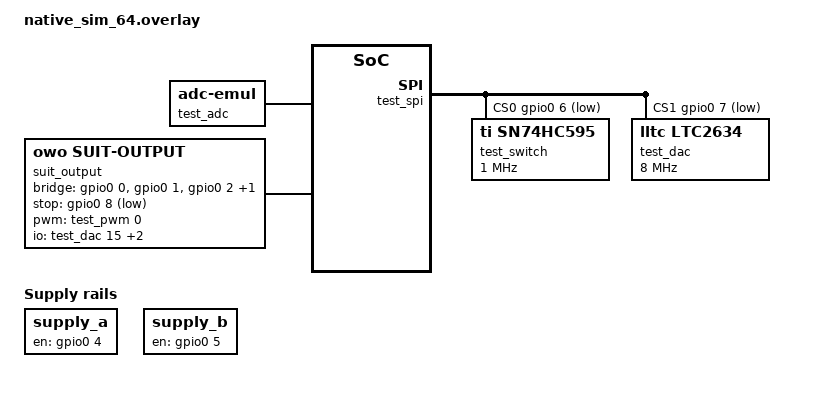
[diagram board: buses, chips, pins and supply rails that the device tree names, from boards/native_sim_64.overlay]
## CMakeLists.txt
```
cmake_minimum_required(VERSION 3.20.0)

# Integration test of the output stage on Zephyr's native_sim: the real shim, the real Zephyr
# drivers (ti,sn74hc595 with read-back, the Rust ltc2634 driver, regulator-fixed, the async ADC
# sequence), emulated GPIO/SPI/ADC/counter, and a small model of the circuit (src/test_hw.c).
list(APPEND ZEPHYR_EXTRA_MODULES ${CMAKE_CURRENT_LIST_DIR}/../../modules/owo-stim)

find_package(Zephyr REQUIRED HINTS $ENV{ZEPHYR_BASE})
project(owo_native_sim_test)

target_sources(app PRIVATE src/test_hw.c)
rust_cargo_application()
```

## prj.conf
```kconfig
CONFIG_RUST=y
CONFIG_LOG=y
CONFIG_MAIN_STACK_SIZE=16384
CONFIG_GPIO=y
CONFIG_GPIO_EMUL=y
CONFIG_SPI=y
CONFIG_SPI_EMUL=y
CONFIG_ADC=y
CONFIG_ADC_ASYNC=y
CONFIG_ADC_EMUL=y
CONFIG_COUNTER=y
CONFIG_COUNTER_NATIVE_SIM=y
CONFIG_COUNTER_NATIVE_SIM_FREQUENCY=1000000
CONFIG_PWM=y
CONFIG_REGULATOR=y
CONFIG_DAC=y
CONFIG_TIMING_FUNCTIONS=y
CONFIG_OWO_STIM=y
CONFIG_OWO_STIM_UNVALIDATED_HARDWARE=y
CONFIG_ADC_EMUL_ACQUISITION_THREAD_PRIO=-5
CONFIG_EMUL=y
CONFIG_SYS_CLOCK_TICKS_PER_SEC=100000
```

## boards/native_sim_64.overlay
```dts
#include <zephyr/dt-bindings/gpio/gpio.h>
#include <zephyr/dt-bindings/adc/adc.h>

/*
 * The output stage on emulated parts. Same owo,suit-output node shape as boards/<board>_hw.overlay
 * of a real board; only the controllers behind it differ. gpio0 pins: 0-3 bridge gates, 4-5 supply
 * enables, 6-7 SPI chip selects, 8 the stop input (power button, low while pressed).
 */
/ {
	test_adc: adc {
		compatible = "zephyr,adc-emul";
		nchannels = <2>;
		ref-vdd-mv = <3300>;
		#io-channel-cells = <1>;
		#address-cells = <1>;
		#size-cells = <0>;
		status = "okay";

		channel@0 {
			reg = <0>;
			zephyr,gain = "ADC_GAIN_1";
			zephyr,reference = "ADC_REF_VDD_1";
			zephyr,vref-mv = <3300>;
			zephyr,acquisition-time = <ADC_ACQ_TIME_DEFAULT>;
			zephyr,resolution = <12>;
		};

		channel@1 {
			reg = <1>;
			zephyr,gain = "ADC_GAIN_1";
			zephyr,reference = "ADC_REF_VDD_1";
			zephyr,vref-mv = <3300>;
			zephyr,acquisition-time = <ADC_ACQ_TIME_DEFAULT>;
			zephyr,resolution = <12>;
		};
	};

	test_pwm: pwm {
		compatible = "owo,test-pwm";
		#pwm-cells = <3>;
	};

	supply_a: supply-a {
		compatible = "regulator-fixed";
		regulator-name = "supply-a";
		enable-gpios = <&gpio0 4 GPIO_ACTIVE_HIGH>;
	};

	supply_b: supply-b {
		compatible = "regulator-fixed";
		regulator-name = "supply-b";
		enable-gpios = <&gpio0 5 GPIO_ACTIVE_HIGH>;
	};

	test_spi: spi@10000 {
		compatible = "zephyr,spi-emul-controller";
		reg = <0x10000 0x100>;
		#address-cells = <1>;
		#size-cells = <0>;
		cs-gpios = <&gpio0 6 GPIO_ACTIVE_LOW>, <&gpio0 7 GPIO_ACTIVE_LOW>;
		status = "okay";

		test_switch: switch@0 {
			compatible = "ti,sn74hc595";
			reg = <0>;
			spi-max-frequency = <1000000>;
			gpio-controller;
			#gpio-cells = <2>;
			ngpios = <32>;
			verify-readback;
		};

		test_dac: dac@1 {
			compatible = "lltc,ltc2634";
			reg = <1>;
			spi-max-frequency = <8000000>;
			#io-channel-cells = <1>;
		};
	};

	suit_output: suit-output {
		compatible = "owo,suit-output";
		bridge-gpios = <&gpio0 0 GPIO_ACTIVE_HIGH>, <&gpio0 1 GPIO_ACTIVE_HIGH>,
			       <&gpio0 2 GPIO_ACTIVE_HIGH>, <&gpio0 3 GPIO_ACTIVE_HIGH>;
		supplies = <&supply_a>, <&supply_b>;
		switch = <&test_switch>;
		switch-routes = <0x01000100 0x00100010 0x00400040 0x00010001 0x00040004 0x00800080
				 0x00020002 0x00080008 0x00200020 0x02000200 0x04000400>;
		pwms = <&test_pwm 0 250000 0>;
		boost-duty-percent = <50>;
		io-channels = <&test_dac 15>, <&test_adc 0>, <&test_adc 1>;
		io-channel-names = "amplitude", "sense", "battery";
		battery-divider = <133 33>;
		amplitude-resolution = <12>;
		amplitude-scale = <0x12FED 0x9C4>;
		max-level = <126>;
		sense-uv-per-level = <19150>;
		sense-offset = <3>;
		stop-gpios = <&gpio0 8 GPIO_ACTIVE_LOW>;
	};
};
```

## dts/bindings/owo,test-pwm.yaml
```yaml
description: Test-only PWM controller that remembers its last setting (tests/native-sim).
compatible: "owo,test-pwm"
include: [pwm-controller.yaml, base.yaml]
properties:
  "#pwm-cells":
    const: 3
pwm-cells:
  - channel
  - period
  - flags
```

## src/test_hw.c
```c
/*
 * Test peripherals for the native_sim run of the output stage:
 *  - owo,test-pwm: a PWM that remembers its duty
 *  - SPI emulators for the ti,sn74hc595 chain (shift register + latch + serial out) and the
 *    lltc,ltc2634 DAC (records the last code)
 *  - "plant": a small model of the circuit that turns the pin/DAC/switch state into the voltage the
 *    emulated ADC converts, so the real supervisor sees consistent feedback
 *  - accessors and knobs for the Rust test
 *
 * SPDX-License-Identifier: Apache-2.0
 */
#include <errno.h>
#include <stdint.h>
#include <zephyr/device.h>
#include <zephyr/devicetree.h>
#include <zephyr/drivers/adc/adc_emul.h>
#include <zephyr/drivers/emul.h>
#include <zephyr/drivers/gpio.h>
#include <zephyr/drivers/gpio/gpio_emul.h>
#include <zephyr/drivers/pwm.h>
#include <zephyr/drivers/spi.h>
#include <zephyr/drivers/spi_emul.h>
#include <zephyr/kernel.h>
#include <zephyr/sys/atomic.h>
#include <zephyr/sys/printk.h>

/* ------------------------------------------------------------------ PWM */

#define DT_DRV_COMPAT owo_test_pwm

static atomic_t pwm_percent;

static int tpwm_set_cycles(const struct device *dev, uint32_t ch, uint32_t period, uint32_t pulse,
			   pwm_flags_t flags)
{
	ARG_UNUSED(dev);
	ARG_UNUSED(ch);
	ARG_UNUSED(flags);
	atomic_set(&pwm_percent, period ? (pulse * 100U) / period : 0);
	return 0;
}

static int tpwm_cycles_per_sec(const struct device *dev, uint32_t ch, uint64_t *cycles)
{
	ARG_UNUSED(dev);
	ARG_UNUSED(ch);
	*cycles = 1000000000ULL; /* one cycle = 1 ns */
	return 0;
}

static DEVICE_API(pwm, tpwm_api) = {
	.set_cycles = tpwm_set_cycles,
	.get_cycles_per_sec = tpwm_cycles_per_sec,
};

#define TPWM(n) DEVICE_DT_INST_DEFINE(n, NULL, NULL, NULL, NULL, POST_KERNEL, 50, &tpwm_api);
DT_INST_FOREACH_STATUS_OKAY(TPWM)

/* ------------------------------------------------------------ SPI emulators */

static uint8_t hc_sr[4];      /* shift register contents; hc_sr[3] is the far end */
static uint32_t hc_latched;   /* what the outputs show: copy of the chain at the last CS rise */
static atomic_t corrupt_readback;
static atomic_t hc_updates;

static uint32_t sr_word(void)
{
	return ((uint32_t)hc_sr[3] << 24) | ((uint32_t)hc_sr[2] << 16) | ((uint32_t)hc_sr[1] << 8) |
	       hc_sr[0];
}

static int hc595_io(const struct emul *target, const struct spi_config *config,
		    const struct spi_buf_set *tx_bufs, const struct spi_buf_set *rx_bufs)
{
	size_t n = 0;

	ARG_UNUSED(target);
	for (size_t i = 0; tx_bufs != NULL && i < tx_bufs->count; i++) {
		const uint8_t *tx = tx_bufs->buffers[i].buf;
		uint8_t *rx = (rx_bufs != NULL && i < rx_bufs->count) ? rx_bufs->buffers[i].buf : NULL;

		for (size_t b = 0; b < tx_bufs->buffers[i].len; b++, n++) {
			uint8_t out = hc_sr[3];

			if (atomic_get(&corrupt_readback)) {
				out ^= 0x01;
			}
			hc_sr[3] = hc_sr[2];
			hc_sr[2] = hc_sr[1];
			hc_sr[1] = hc_sr[0];
			hc_sr[0] = tx ? tx[b] : 0;
			if (rx != NULL) {
				rx[b] = out;
			}
		}
	}
	/* A transaction with a chip select ends with its rising edge: the chain is latched. The
	 * read-back transaction is made without the chip select, so it does not latch.
	 */
	if (config->cs.gpio.port != NULL && n > 0) {
		hc_latched = sr_word();
		atomic_inc(&hc_updates);
	}
	return 0;
}

static uint32_t dac_code;
static atomic_t dac_frames;

static int ltc_io(const struct emul *target, const struct spi_config *config,
		  const struct spi_buf_set *tx_bufs, const struct spi_buf_set *rx_bufs)
{
	ARG_UNUSED(target);
	ARG_UNUSED(config);
	ARG_UNUSED(rx_bufs);
	if (tx_bufs == NULL || tx_bufs->count < 1 || tx_bufs->buffers[0].len != 3) {
		return -EIO;
	}
	const uint8_t *f = tx_bufs->buffers[0].buf;
	uint8_t cmd = f[0] >> 4;

	if (cmd == 0x3) { /* write and update */
		dac_code = (((uint32_t)f[1] << 8) | f[2]) >> 4;
		atomic_inc(&dac_frames);
	}
	return 0;
}

static int emul_init(const struct emul *target, const struct device *parent)
{
	ARG_UNUSED(target);
	ARG_UNUSED(parent);
	return 0;
}

static struct spi_emul_api hc595_api = {.io = hc595_io};
static struct spi_emul_api ltc_api = {.io = ltc_io};

#undef DT_DRV_COMPAT
#define DT_DRV_COMPAT ti_sn74hc595
#define HC_EMUL(n) EMUL_DT_INST_DEFINE(n, emul_init, NULL, NULL, &hc595_api, NULL)
DT_INST_FOREACH_STATUS_OKAY(HC_EMUL)

#undef DT_DRV_COMPAT
#define DT_DRV_COMPAT lltc_ltc2634
#define LTC_EMUL(n) EMUL_DT_INST_DEFINE(n, emul_init, NULL, NULL, &ltc_api, NULL)
DT_INST_FOREACH_STATUS_OKAY(LTC_EMUL)

/* ------------------------------------------------------------------- plant */

#define SUIT DT_NODELABEL(suit_output)
static const struct device *const gpio0 = DEVICE_DT_GET(DT_NODELABEL(gpio0));
static const struct device *const adc = DEVICE_DT_GET(DT_NODELABEL(test_adc));

static atomic_t gain_percent = ATOMIC_INIT(100);
/* Pack millivolts; the battery input reads them through the 33/133 divider. */
#define BATTERY_DIVIDER_NUM 133U
#define BATTERY_DIVIDER_DEN 33U
#define PACK_NOMINAL_MV 7600
static atomic_t battery_mv = ATOMIC_INIT(PACK_NOMINAL_MV);
/* The stop input (power button): gpio0 pin 8, active low. */
#define STOP_PIN 8
static atomic_t adc_hang;
static K_SEM_DEFINE(hang_sem, 0, 1);
static atomic_t conversions;
static atomic_t shoot;       /* conversions that saw both gates of a leg (or both highs) on */
static atomic_t live_open;   /* conversions that saw the bridge closed with the stage not powered */
static uint32_t trace[32];
static atomic_t trace_len;
static uint32_t last_state = UINT32_MAX;
static int64_t closed_first_us, closed_last_us;
static uint32_t max_closed_us;

/* 0 off, 1 positive, 2 negative, 3 illegal */
uint32_t t_bridge_state(void)
{
	int ha = gpio_emul_output_get(gpio0, 0), hb = gpio_emul_output_get(gpio0, 1);
	int la = gpio_emul_output_get(gpio0, 2), lb = gpio_emul_output_get(gpio0, 3);

	if (!ha && !hb) {
		return 0; /* both high sides off: nothing is driven, whatever the low sides do */
	}
	if (ha && !hb && !la && lb) {
		return 1;
	}
	if (hb && !ha && !lb && la) {
		return 2;
	}
	return 3;
}

uint32_t t_supply_on(void)
{
	return gpio_emul_output_get(gpio0, 4) && gpio_emul_output_get(gpio0, 5);
}

static uint32_t plant_level(void)
{
	uint32_t st = t_bridge_state();
	uint32_t level;

	if ((st != 1 && st != 2) || !t_supply_on() || atomic_get(&pwm_percent) == 0 || hc_latched == 0) {
		return 0;
	}
	level = dac_code * 0x9C4U / 0x12FEDU;
	return level * (uint32_t)atomic_get(&gain_percent) / 100U;
}

static int plant_value(const struct device *dev, unsigned int chan, void *data, uint32_t *result)
{
	uint32_t st = t_bridge_state();
	int64_t now = k_ticks_to_us_near64(k_uptime_ticks());

	ARG_UNUSED(dev);
	ARG_UNUSED(chan);
	ARG_UNUSED(data);

	if (atomic_get(&adc_hang)) {
		(void)k_sem_take(&hang_sem, K_FOREVER); /* a stuck converter */
	}
	atomic_inc(&conversions);
	if (st == 3) {
		atomic_inc(&shoot);
	}
	if (gpio_emul_output_get(gpio0, 0) && gpio_emul_output_get(gpio0, 2)) {
		atomic_inc(&shoot);
	}
	if (gpio_emul_output_get(gpio0, 1) && gpio_emul_output_get(gpio0, 3)) {
		atomic_inc(&shoot);
	}
	if ((st == 1 || st == 2) && !t_supply_on()) {
		atomic_inc(&live_open);
	}
	if (st != last_state) {
		int n = atomic_get(&trace_len);

		if (n < (int)ARRAY_SIZE(trace)) {
			trace[n] = st;
			atomic_set(&trace_len, n + 1);
		}
		last_state = st;
	}
	if (st == 1 || st == 2) {
		if (closed_first_us == 0) {
			closed_first_us = now;
		}
		closed_last_us = now;
		if ((uint32_t)(closed_last_us - closed_first_us) > max_closed_us) {
			max_closed_us = closed_last_us - closed_first_us;
		}
	} else {
		closed_first_us = 0;
	}
	/* The ADC reads (level + 3) steps of 19.15 mV, the inverse of the sense scaling. */
	*result = (plant_level() + 3U) * 19150U / 1000U;
	return 0;
}

static int battery_value(const struct device *dev, unsigned int chan, void *data,
			 uint32_t *result)
{
	ARG_UNUSED(dev);
	ARG_UNUSED(chan);
	ARG_UNUSED(data);
	*result = (uint32_t)atomic_get(&battery_mv) * BATTERY_DIVIDER_DEN / BATTERY_DIVIDER_NUM;
	return 0;
}

void t_plant_start(void)
{
	(void)adc_emul_value_func_set(adc, 0, plant_value, NULL);
	(void)adc_emul_value_func_set(adc, 1, battery_value, NULL);
	/* The button is released (its pull-up) before the output stage reads it. */
	(void)gpio_pin_configure(gpio0, STOP_PIN, GPIO_INPUT);
	(void)gpio_emul_input_set(gpio0, STOP_PIN, 1);
}

/* ------------------------------------------------------------ test interface */

uint32_t t_switch_word(void) { return hc_latched; }
uint32_t t_switch_updates(void) { return (uint32_t)atomic_get(&hc_updates); }
uint32_t t_dac_code(void) { return dac_code; }
uint32_t t_dac_frames(void) { return (uint32_t)atomic_get(&dac_frames); }
uint32_t t_pwm_percent(void) { return (uint32_t)atomic_get(&pwm_percent); }
uint32_t t_shoot(void) { return (uint32_t)atomic_get(&shoot); }
uint32_t t_live_open(void) { return (uint32_t)atomic_get(&live_open); }
uint32_t t_conversions(void) { return (uint32_t)atomic_get(&conversions); }
uint32_t t_max_closed_us(void) { return max_closed_us; }
uint32_t t_trace_len(void) { return (uint32_t)atomic_get(&trace_len); }
uint32_t t_trace(uint32_t i) { return i < ARRAY_SIZE(trace) ? trace[i] : 0; }

void t_set_gain_percent(uint32_t g) { atomic_set(&gain_percent, g); }
void t_set_battery_mv(uint32_t mv) { atomic_set(&battery_mv, mv); }

/* Pressing drives the stop input low. */
void t_set_stop_pressed(int pressed)
{
	(void)gpio_emul_input_set(gpio0, STOP_PIN, pressed ? 0 : 1);
}

/* A stop requested from an interrupt @p us from now (a timer expiry). */
extern void t_stop_from_isr(void);
static void stop_timer_fn(struct k_timer *t)
{
	ARG_UNUSED(t);
	t_stop_from_isr();
}
static K_TIMER_DEFINE(stop_timer, stop_timer_fn, NULL);
void t_stop_in_us(uint32_t us)
{
	k_timer_start(&stop_timer, K_USEC(us), K_NO_WAIT);
}
void t_set_corrupt_readback(int on) { atomic_set(&corrupt_readback, on); }

void t_set_adc_hang(int on)
{
	atomic_set(&adc_hang, on);
	if (!on) {
		k_sem_give(&hang_sem);
	}
}

void t_reset_observations(void)
{
	atomic_set(&shoot, 0);
	atomic_set(&live_open, 0);
	atomic_set(&trace_len, 0);
	last_state = UINT32_MAX;
	max_closed_us = 0;
	closed_first_us = 0;
}

void t_exit(int code)
{
	extern void posix_exit(int);

	printk("native_sim test exit %d\n", code);
	posix_exit(code);
}
```
